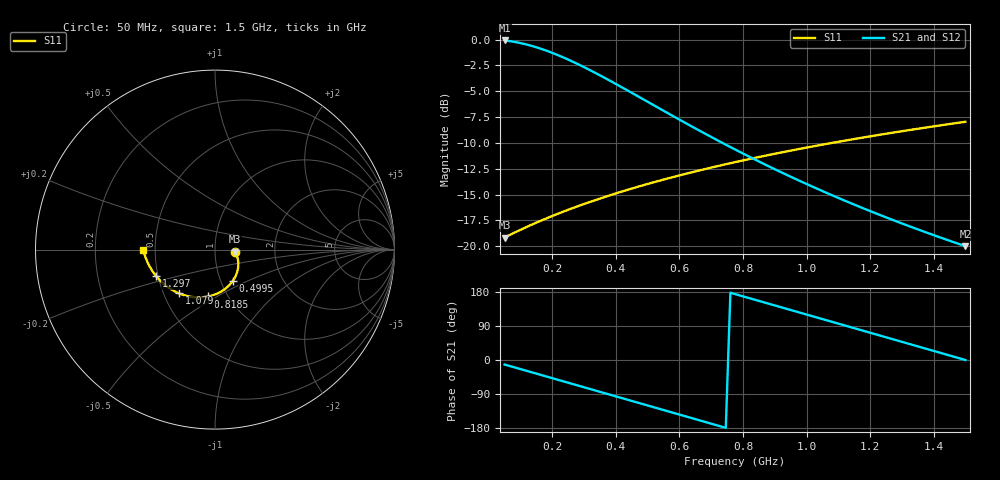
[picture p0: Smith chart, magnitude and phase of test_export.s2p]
! Touchstone file exported from NanoVNA UTN Toolkit
! Device: Test Device
! Export date: 2025-09-22 11:07:18
! Frequency range: 50.000 - 1500.000 MHz
! Number of points: 101
# HZ S RI R 50
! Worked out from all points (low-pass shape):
!   101 points, 50 MHz to 1.5 GHz, reference 50 ohm
!   highest |S21| = -0.09 dB at 50 MHz (marker M1); lowest = -20.0 dB at 1.5 GHz (marker M2)
!   |S21| within 3 dB of the highest: start of sweep to 326.6 MHz
!   lowest |S11| = -19.2 dB at 50 MHz (marker M3), VSWR 1.25, Z = 62.3 - j1.45 ohm
!   |S11| at or under -10 dB: start of sweep to 1.081 GHz
!   |S22| runs from - to - dB; largest |S21 - S12| = 0
!   S11 on the Smith chart (normalised r, x): 50 MHz: 1.25, -0.03; 499.5 MHz: 1.14, -0.41; 818.5 MHz: 0.81, -0.46; 1.079 GHz: 0.60, -0.32; 1.297 GHz: 0.49, -0.17; 1.5 GHz: 0.43, -0.00
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5e7  0.1094 -0.0115  0.9685 -0.2059  0.9685 -0.2059  0 0
1.08e8  0.1185 -0.0273  0.8593 -0.4176  0.8593 -0.4176  0 0
1.515e8  0.1238 -0.0407  0.7376 -0.543  0.7376 -0.543  0 0
1.805e8  0.1265 -0.0502  0.6437 -0.607  0.6437 -0.607  0 0
2.385e8  0.1297 -0.0707  0.4408 -0.6851  0.4408 -0.6851  0 0
2.965e8  0.1296 -0.0927  0.2389 -0.7002  0.2389 -0.7002  0 0
3.4e8  0.1272 -0.1098  0.0999 -0.6765  0.0999 -0.6765  0 0
3.98e8  0.1207 -0.133  -0.0589 -0.6093  -0.0589 -0.6093  0 0
4.415e8  0.1134 -0.1503  -0.1545 -0.5402  -0.1545 -0.5402  0 0
4.995e8  0.1001 -0.173  -0.2493 -0.434  -0.2493 -0.434  0 0
5.43e8  0.0876 -0.1893  -0.2969 -0.3498  -0.2969 -0.3498  0 0
5.865e8  0.073 -0.2047  -0.326 -0.2662  -0.326 -0.2662  0 0
6.445e8  0.0502 -0.2233  -0.3396 -0.1607  -0.3396 -0.1607  0 0
7.025e8  0.0239 -0.2393  -0.3296 -0.0665  -0.3296 -0.0665  0 0
7.75e8  -0.0133 -0.2547  -0.2923 0.0307  -0.2923 0.0307  0 0
8.185e8  -0.0377 -0.261  -0.2606 0.0769  -0.2606 0.0769  0 0
9.2e8  -0.099 -0.2662  -0.1726 0.149  -0.1726 0.149  0 0
1.0215e9  -0.1639 -0.2564  -0.0812 0.1754  -0.0812 0.1754  0 0
1.0795e9  -0.2011 -0.2436  -0.0335 0.1734  -0.0335 0.1734  0 0
1.268e9  -0.3127 -0.1651  0.0759 0.1111  0.0759 0.1111  0 0
1.297e9  -0.3274 -0.1482  0.0854 0.0972  0.0854 0.0972  0 0
1.5e9  -0.4 -4.9e-17  0.1 2.45e-17  0.1 2.45e-17  0 0
